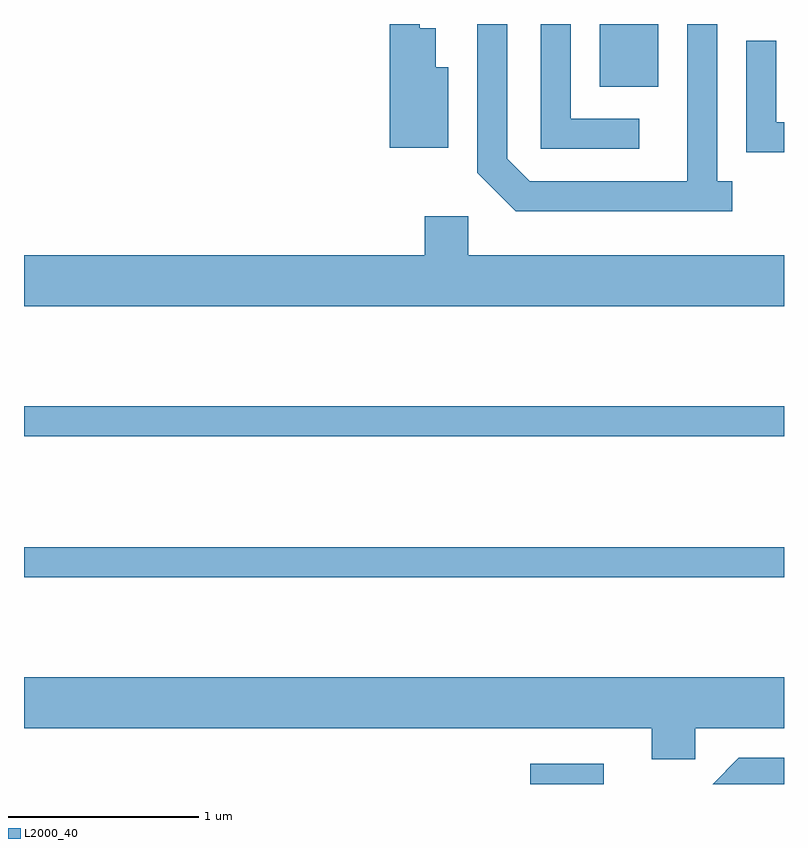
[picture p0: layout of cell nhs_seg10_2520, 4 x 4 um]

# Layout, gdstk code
import gdstk
lib = gdstk.Library(unit=1e-6, precision=1e-09)
def R(c, l, rs):  # rectangles x0, y0, x1, y1
    for r in rs: c.add(gdstk.rectangle(r[:2], r[2:], *l))
def P(c, l, *ps):  # polygons
    for p in ps: c.add(gdstk.Polygon(p, *l))
L2000_40 = (2000, 40)

nhs_seg10_2520 = lib.new_cell('nhs_seg10_2520')
R(nhs_seg10_2520, L2000_40, [(262.276,2102.522,262.663,2102.629), (259.611,2103.611,263.611,2103.769), (259.611,2104.351,263.611,2104.509), (262.641,2106.191,262.949,2106.522)])
P(nhs_seg10_2520, L2000_40, [(263.338,2105.694),(263.259,2105.694),(263.259,2106.522),(263.101,2106.522),(263.101,2105.694),(262.272,2105.694),(262.154,2105.812),(262.154,2106.522),(261.996,2106.522),(261.996,2105.739),(262.199,2105.536),(263.338,2105.536)],
  [(261.844,2106.294),(261.779,2106.294),(261.779,2106.499),(261.694,2106.499),(261.694,2106.522),(261.536,2106.522),(261.536,2105.871),(261.844,2105.871)],
  [(262.848,2106.024),(262.489,2106.024),(262.489,2106.522),(262.331,2106.522),(262.331,2105.866),(262.848,2105.866)],
  [(263.611,2106.004),(263.569,2106.004),(263.569,2106.433),(263.411,2106.433),(263.411,2105.846),(263.611,2105.846)],
  [(263.611,2105.304),(261.949,2105.304),(261.949,2105.509),(261.721,2105.509),(261.721,2105.304),(259.611,2105.304),(259.611,2105.036),(263.611,2105.036)],
  [(263.144,2102.816),(263.611,2102.816),(263.611,2103.084),(259.611,2103.084),(259.611,2102.816),(262.916,2102.816),(262.916,2102.651),(263.144,2102.651)],
  [(263.611,2102.659),(263.374,2102.659),(263.237,2102.522),(263.611,2102.522)])

lib.write_gds('nhs_seg10_2520.gds')
